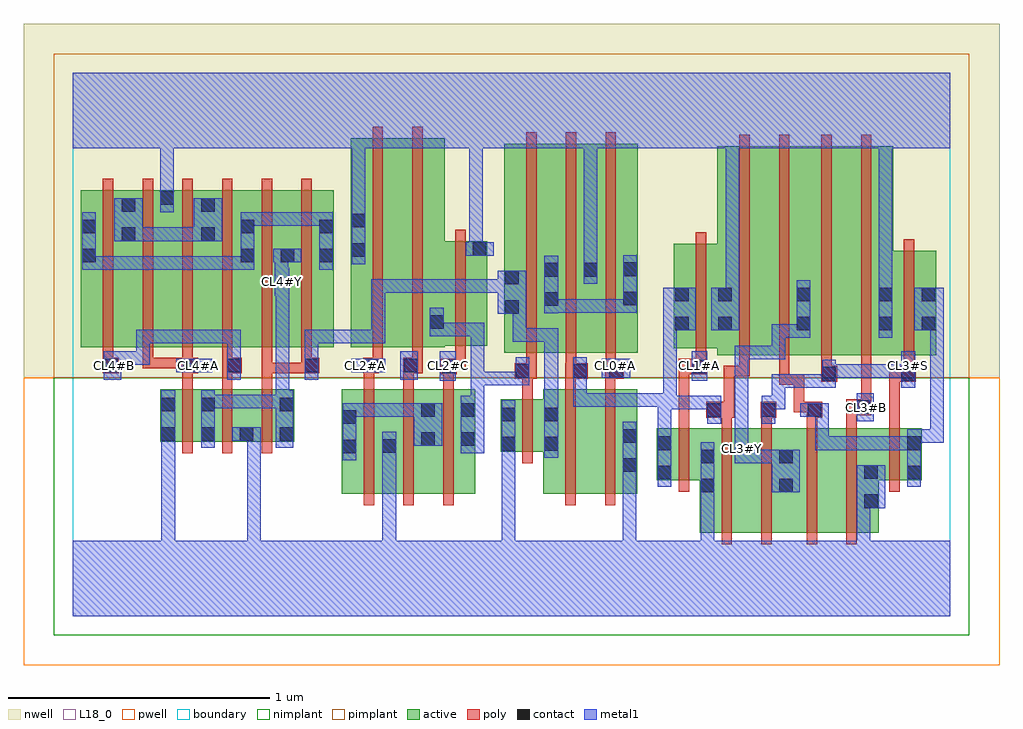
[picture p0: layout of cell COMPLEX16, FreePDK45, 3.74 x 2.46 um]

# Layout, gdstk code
import gdstk
lib = gdstk.Library(unit=1e-6, precision=1e-09)
def R(c, l, rs):  # rectangles x0, y0, x1, y1
    for r in rs: c.add(gdstk.rectangle(r[:2], r[2:], *l))
def A(c, l, x, y, w, h, nx, ny, dx, dy):  # array of equal rectangles
    R(c, l, [(x+i*dx, y+j*dy, x+i*dx+w, y+j*dy+h) for i in range(nx) for j in range(ny)])
active = (1, 0)
pwell = (2, 0)
nwell = (3, 0)
nimplant = (4, 0)
pimplant = (5, 0)
poly = (9, 0)
contact = (10, 0)
metal1 = (11, 0)
L18_0 = (18, 0)
boundary = (235, 0)

complex16 = lib.new_cell('COMPLEX16')
R(complex16, active, [(2.4,0.32,2.58,0.72), (2.4,0.32,2.46,0.72), (2.58,0.32,2.76,0.72), (2.7,0.32,2.906,0.72), (2.906,0.32,3.086,0.72), (3.026,0.32,3.086,0.582), (2.7,0.356,2.76,0.642), (1.03,0.468,1.09,0.868), (1.03,0.468,1.242,0.868), (1.182,0.468,1.242,0.868), (1.182,0.468,1.39,0.868), (1.33,0.468,1.39,0.868), (1.33,0.468,1.542,0.868), (1.482,0.468,1.542,0.868), (1.802,0.468,1.982,0.868), (1.982,0.468,2.162,0.868), (2.102,0.468,2.162,0.868), (2.236,0.52,2.296,0.72), (2.236,0.52,2.46,0.72), (3.026,0.52,3.25,0.72), (3.19,0.52,3.25,0.72), (1.638,0.63,1.698,0.83), (1.638,0.63,1.862,0.83), (1.802,0.63,1.862,0.83), (0.336,0.668,0.396,0.868), (0.336,0.668,0.548,0.868), (0.488,0.668,0.696,0.868), (0.488,0.668,0.548,0.84), (0.636,0.668,0.696,0.868), (0.636,0.668,0.848,0.868), (0.788,0.668,0.848,0.868), (2.468,0.998,2.648,1.798), (2.648,0.998,2.828,1.798), (2.768,0.998,2.962,1.798), (2.768,0.998,2.828,1.724), (2.962,0.998,3.142,1.798), (3.082,0.998,3.306,1.398), (3.082,0.998,3.142,1.356), (3.246,0.998,3.306,1.398), (1.652,1.008,1.712,1.724), (1.652,1.008,1.862,1.808), (1.802,1.008,2.012,1.808), (1.952,1.008,2.164,1.808), (2.104,1.008,2.164,1.724), (2.302,1.026,2.362,1.356), (2.302,1.026,2.528,1.426), (2.468,1.026,2.528,1.356), (0.032,1.03,0.092,1.556), (0.032,1.03,0.244,1.63), (0.184,1.03,0.392,1.63), (0.332,1.03,0.548,1.63), (0.488,1.03,0.7,1.63), (0.64,1.03,0.7,1.556), (0.64,1.03,0.852,1.63), (0.792,1.03,1,1.63), (0.792,1.03,0.852,1.62), (0.94,1.03,1,1.556), (1.064,1.03,1.244,1.83), (1.064,1.03,1.124,1.756), (1.244,1.03,1.424,1.83), (1.364,1.036,1.588,1.436), (1.364,1.036,1.424,1.62), (1.528,1.036,1.588,1.436), (1.802,1.184,1.862,1.724), (1.952,1.206,2.012,1.756), (0.184,1.406,0.244,1.604), (0.332,1.406,0.392,1.63), (0.488,1.406,0.548,1.63)])
R(complex16, pwell, [(-0.188,-0.188,3.548,0.912)])
R(complex16, nwell, [(-0.188,0.912,3.548,2.268)])
R(complex16, nimplant, [(-0.072,-0.072,3.432,0.912)])
R(complex16, pimplant, [(-0.072,0.912,3.432,2.152)])
A(complex16, poly, 1.114, 0.424, 0.04, 0.488, 3, 1, 0.152, 0)
A(complex16, poly, 0.42, 0.624, 0.04, 0.288, 3, 1, 0.152, 0)
A(complex16, poly, 0.42, 0.872, 0.04, 0.098, 3, 1, 0.152, 0)
A(complex16, poly, 1.736, 0.928, 0.04, 0.076, 3, 1, 0.152, 0)
A(complex16, poly, 0.116, 0.95, 0.04, 0.076, 4, 1, 0.152, 0)
A(complex16, poly, 1.736, 0.964, 0.04, 0.888, 3, 1, 0.152, 0)
A(complex16, poly, 0.116, 0.986, 0.04, 0.688, 6, 1, 0.152, 0)
R(complex16, poly, [(2.484,0.276,2.524,0.764), (2.636,0.276,2.676,0.764), (2.81,0.276,2.85,0.764), (2.962,0.276,3.002,0.764), (1.886,0.424,1.926,0.912), (2.038,0.424,2.078,0.912), (2.32,0.476,2.36,0.764), (3.126,0.476,3.166,0.764), (1.722,0.586,1.762,0.874), (2.32,0.724,2.36,0.966), (2.484,0.724,2.524,0.8), (2.636,0.724,2.676,0.8), (2.81,0.724,2.85,0.8), (2.962,0.724,3.002,0.81), (3.126,0.724,3.166,0.938), (2.426,0.76,2.532,0.82), (2.634,0.76,2.694,0.82), (2.81,0.76,2.87,0.82), (2.962,0.77,3.058,0.83), (2.492,0.78,2.532,0.958), (2.76,0.78,2.8,0.82), (2.76,0.78,2.85,0.82), (2.76,0.78,2.8,0.926), (3.018,0.79,3.058,0.83), (3.018,0.79,3.058,0.83), (3.018,0.79,3.058,0.994), (1.722,0.834,1.762,0.948), (1.114,0.872,1.154,0.97), (1.266,0.872,1.306,0.97), (1.418,0.872,1.458,0.966), (1.886,0.872,1.926,0.948), (2.038,0.872,2.078,0.948), (2.704,0.886,2.744,0.926), (2.704,0.886,2.8,0.926), (2.704,0.886,2.744,0.994), (2.76,0.886,2.8,0.926), (2.866,0.898,2.926,0.958), (3.126,0.898,3.208,0.938), (3.168,0.898,3.208,0.938), (3.168,0.898,3.228,0.958), (1.692,0.908,1.776,0.968), (1.722,0.908,1.762,0.948), (1.722,0.908,1.762,0.948), (1.886,0.908,1.972,0.968), (2.038,0.908,2.08,0.948), (2.04,0.908,2.08,0.948), (2.04,0.908,2.11,0.968), (2.492,0.918,2.592,0.958), (2.552,0.918,2.592,0.994), (2.866,0.918,2.906,0.994), (3.182,0.918,3.222,0.994), (1.41,0.926,1.47,0.986), (2.32,0.926,2.36,0.966), (2.32,0.926,2.36,0.966), (2.32,0.926,2.426,0.986), (1.888,0.928,1.928,0.968), (1.888,0.928,1.928,0.968), (0.116,0.93,0.176,0.99), (0.42,0.93,0.48,0.99), (0.572,0.93,0.612,0.97), (0.572,0.93,0.612,0.97), (0.572,0.93,0.648,0.99), (0.724,0.93,0.764,0.97), (0.724,0.93,0.764,0.97), (0.724,0.93,0.764,0.97), (0.724,0.93,0.764,0.97), (0.724,0.93,0.764,0.97), (0.724,0.93,0.916,0.97), (0.724,0.93,0.764,1.026), (0.876,0.93,0.944,0.99), (1.112,0.93,1.172,0.99), (1.266,0.93,1.306,0.97), (1.266,0.93,1.306,0.97), (1.266,0.93,1.34,0.99), (1.43,0.946,1.47,0.986), (1.43,0.946,1.504,0.986), (1.464,0.946,1.504,1.032), (2.386,0.946,2.426,1.022), (0.268,0.95,0.308,0.99), (0.268,0.95,0.308,0.99), (0.268,0.95,0.308,0.99), (0.268,0.95,0.46,0.99), (0.42,0.95,0.46,0.99), (0.42,0.95,0.46,0.99), (0.876,0.95,0.916,1.026), (1.132,0.95,1.172,0.99), (1.132,0.95,1.188,0.99), (1.148,0.95,1.188,1.026), (1.3,0.95,1.34,1.026), (2.552,0.954,2.592,1.842), (2.704,0.954,2.744,1.842), (2.866,0.954,2.906,1.842), (3.018,0.954,3.058,1.842), (3.182,0.954,3.222,1.442), (2.386,0.982,2.426,1.47), (1.148,0.986,1.188,1.874), (1.3,0.986,1.34,1.874), (1.464,0.992,1.504,1.48)])
R(complex16, contact, [(3.03,0.414,3.082,0.466), (2.404,0.474,2.456,0.526), (2.704,0.474,2.756,0.526), (2.24,0.524,2.292,0.576), (3.194,0.524,3.246,0.576), (3.03,0.526,3.082,0.578), (2.106,0.552,2.158,0.604), (2.404,0.586,2.456,0.638), (2.704,0.586,2.756,0.638), (1.034,0.624,1.086,0.676), (1.186,0.626,1.238,0.678), (1.642,0.634,1.694,0.686), (1.806,0.634,1.858,0.686), (2.24,0.636,2.292,0.688), (3.194,0.636,3.246,0.688), (1.334,0.652,1.386,0.704), (1.486,0.652,1.538,0.704), (2.106,0.664,2.158,0.716), (0.34,0.672,0.392,0.724), (0.492,0.672,0.544,0.724), (0.64,0.672,0.692,0.724), (0.792,0.672,0.844,0.724), (1.034,0.736,1.086,0.788), (1.642,0.746,1.694,0.798), (1.806,0.746,1.858,0.798), (1.334,0.764,1.386,0.816), (1.486,0.764,1.538,0.816), (2.43,0.764,2.482,0.816), (2.638,0.764,2.69,0.816), (2.814,0.764,2.866,0.816), (3.002,0.774,3.054,0.826), (0.34,0.784,0.392,0.836), (0.492,0.784,0.544,0.836), (0.792,0.784,0.844,0.836), (2.87,0.902,2.922,0.954), (3.172,0.902,3.224,0.954), (1.696,0.912,1.748,0.964), (1.916,0.912,1.968,0.964), (2.054,0.912,2.106,0.964), (1.414,0.93,1.466,0.982), (2.37,0.93,2.422,0.982), (0.12,0.934,0.172,0.986), (0.424,0.934,0.476,0.986), (0.592,0.934,0.644,0.986), (0.888,0.934,0.94,0.986), (1.116,0.934,1.168,0.986), (1.27,0.934,1.322,0.986), (2.306,1.094,2.358,1.146), (2.472,1.094,2.524,1.146), (2.772,1.094,2.824,1.146), (3.086,1.094,3.138,1.146), (3.25,1.094,3.302,1.146), (1.368,1.1,1.42,1.152), (1.656,1.158,1.708,1.21), (1.806,1.188,1.858,1.24), (2.108,1.19,2.16,1.242), (2.306,1.206,2.358,1.258), (2.472,1.206,2.524,1.258), (2.772,1.206,2.824,1.258), (3.086,1.206,3.138,1.258), (3.25,1.206,3.302,1.258), (1.656,1.27,1.708,1.322), (1.806,1.3,1.858,1.352), (1.956,1.3,2.008,1.352), (2.108,1.302,2.16,1.354), (0.036,1.354,0.088,1.406), (0.644,1.354,0.696,1.406), (0.796,1.354,0.848,1.406), (0.944,1.354,0.996,1.406), (1.068,1.376,1.12,1.428), (1.532,1.38,1.584,1.432), (0.188,1.436,0.24,1.488), (0.492,1.436,0.544,1.488), (0.036,1.466,0.088,1.518), (0.644,1.466,0.696,1.518), (0.944,1.466,0.996,1.518), (1.068,1.488,1.12,1.54), (0.188,1.548,0.24,1.6), (0.492,1.548,0.544,1.6), (0.336,1.574,0.388,1.626)])
R(complex16, metal1, [(0,0,3.36,0.288), (0.34,0.236,0.392,0.288), (0.34,0.236,0.392,0.288), (0.34,0.236,0.392,0.288), (0.34,0.236,0.392,0.288), (0.34,0.236,0.392,0.288), (0.34,0.236,0.392,0.288), (0.34,0.236,0.392,0.696), (0.668,0.236,0.72,0.288), (0.668,0.236,0.72,0.288), (0.668,0.236,0.72,0.288), (0.668,0.236,0.72,0.288), (0.668,0.236,0.72,0.288), (0.668,0.236,0.72,0.288), (0.668,0.236,0.72,0.724), (1.186,0.236,1.238,0.65), (1.642,0.236,1.694,0.658), (2.106,0.236,2.158,0.288), (2.106,0.236,2.158,0.288), (2.106,0.236,2.158,0.576), (2.404,0.236,2.456,0.498), (3.002,0.236,3.054,0.288), (3.002,0.236,3.054,0.288), (3.002,0.236,3.054,0.466), (3.002,0.414,3.11,0.578), (2.404,0.446,2.456,0.498), (2.404,0.446,2.456,0.498), (2.404,0.446,2.456,0.666), (2.676,0.474,2.784,0.638), (2.24,0.496,2.292,0.716), (3.194,0.496,3.246,0.716), (2.106,0.524,2.158,0.744), (2.534,0.586,2.586,0.638), (2.534,0.586,2.586,0.638), (2.534,0.586,2.586,0.694), (2.534,0.586,2.728,0.638), (2.676,0.586,2.728,0.638), (2.676,0.586,2.728,0.638), (1.034,0.596,1.086,0.816), (1.186,0.598,1.238,0.65), (1.186,0.598,1.238,0.65), (1.186,0.598,1.238,0.706), (1.642,0.606,1.694,0.658), (1.642,0.606,1.694,0.658), (1.642,0.606,1.694,0.658), (1.642,0.606,1.694,0.658), (1.642,0.606,1.694,0.658), (1.642,0.606,1.694,0.658), (1.642,0.606,1.694,0.826), (1.806,0.606,1.858,0.826), (1.486,0.624,1.576,0.844), (2.842,0.636,2.894,0.688), (2.842,0.636,3.114,0.688), (2.842,0.636,2.894,0.816), (3.062,0.636,3.114,0.688), (3.062,0.636,3.114,0.688), (3.062,0.636,3.114,0.688), (3.062,0.636,3.246,0.688), (3.194,0.636,3.246,0.688), (3.194,0.636,3.246,0.688), (2.534,0.642,2.586,1.036), (0.34,0.644,0.392,0.864), (0.492,0.644,0.544,0.864), (0.778,0.644,0.844,0.864), (1.306,0.652,1.414,0.816), (2.24,0.664,2.292,0.844), (3.194,0.664,3.246,0.716), (3.194,0.664,3.334,0.716), (3.282,0.664,3.334,1.146), (0.612,0.672,0.72,0.724), (2.43,0.736,2.482,0.844), (2.638,0.736,2.69,0.844), (3.002,0.746,3.066,0.854), (1.034,0.764,1.086,0.816), (1.034,0.764,1.086,0.816), (1.034,0.764,1.196,0.816), (1.144,0.764,1.196,0.816), (1.144,0.764,1.196,0.816), (1.144,0.764,1.196,0.816), (1.144,0.764,1.358,0.816), (2.786,0.764,2.894,0.816), (2.842,0.764,2.894,0.816), (2.842,0.764,2.894,0.816), (1.806,0.774,1.858,0.826), (1.806,0.774,1.858,0.826), (1.806,0.774,1.858,0.826), (1.806,0.774,1.858,0.826), (1.806,0.774,1.858,1.102), (1.524,0.792,1.576,0.844), (1.524,0.792,1.576,0.844), (1.524,0.792,1.576,0.936), (2.24,0.792,2.312,0.854), (2.26,0.792,2.312,0.844), (2.26,0.792,2.312,0.844), (2.26,0.792,2.422,0.844), (2.37,0.792,2.422,0.844), (2.37,0.792,2.482,0.844), (2.638,0.792,2.728,0.844), (2.676,0.792,2.728,0.844), (2.676,0.792,2.728,0.926), (0.492,0.796,0.654,0.848), (0.602,0.796,0.654,0.848), (0.602,0.796,0.654,0.848), (0.602,0.796,0.654,0.848), (0.602,0.796,0.83,0.848), (0.778,0.796,0.83,0.848), (0.778,0.796,0.83,0.848), (1.916,0.802,1.968,0.936), (1.916,0.802,2.158,0.854), (2.106,0.802,2.158,0.854), (2.106,0.802,2.158,0.854), (2.106,0.802,2.158,0.854), (2.106,0.802,2.292,0.854), (2.26,0.802,2.312,0.854), (2.26,0.802,2.312,0.854), (2.26,0.802,2.312,1.146), (0.778,0.812,0.83,1.278), (2.676,0.874,2.728,0.926), (2.676,0.874,2.922,0.926), (2.87,0.874,2.922,0.982), (3.172,0.874,3.226,1.014), (1.524,0.884,1.576,0.936), (1.524,0.884,1.748,0.936), (1.524,0.884,1.576,1.124), (1.696,0.884,1.748,0.936), (1.696,0.884,1.748,0.936), (1.696,0.884,1.748,0.992), (1.916,0.884,1.968,0.936), (1.916,0.884,1.968,0.992), (1.406,0.902,1.466,1.014), (2.37,0.902,2.43,1.014), (0.12,0.906,0.186,1.014), (0.592,0.906,0.644,1.096), (0.888,0.906,0.94,1.014), (1.254,0.906,1.322,1.014), (2.026,0.912,2.134,0.986), (2.87,0.912,2.922,0.964), (2.87,0.912,2.922,0.964), (2.87,0.912,3.114,0.964), (3.062,0.912,3.114,0.964), (3.062,0.912,3.114,0.964), (3.062,0.912,3.114,0.964), (3.062,0.912,3.224,0.964), (0.396,0.934,0.534,0.986), (1.066,0.934,1.196,0.986), (0.134,0.962,0.198,1.014), (0.146,0.962,0.198,1.014), (0.146,0.962,0.296,1.014), (0.244,0.962,0.296,1.096), (0.888,0.962,0.94,1.014), (0.888,0.962,0.94,1.096), (2.534,0.984,2.586,1.036), (2.534,0.984,2.586,1.036), (2.534,0.984,2.586,1.036), (2.534,0.984,2.728,1.036), (2.676,0.984,2.728,1.118), (0.244,1.044,0.406,1.096), (0.354,1.044,0.406,1.096), (0.354,1.044,0.406,1.096), (0.354,1.044,0.406,1.096), (0.354,1.044,0.516,1.096), (0.464,1.044,0.516,1.096), (0.464,1.044,0.644,1.096), (0.888,1.044,1.086,1.096), (1.034,1.044,1.086,1.096), (1.034,1.044,1.086,1.096), (1.034,1.044,1.086,1.096), (1.034,1.044,1.196,1.096), (1.144,1.044,1.196,1.096), (1.144,1.044,1.196,1.096), (1.144,1.044,1.196,1.096), (1.144,1.044,1.196,1.29), (1.684,1.05,1.736,1.102), (1.684,1.05,1.736,1.102), (1.684,1.05,1.736,1.102), (1.684,1.05,1.858,1.102), (1.684,1.05,1.736,1.21), (1.806,1.05,1.858,1.102), (2.676,1.066,2.824,1.118), (2.772,1.066,2.824,1.286), (3.086,1.066,3.138,1.286), (1.368,1.072,1.42,1.124), (1.368,1.072,1.42,1.124), (1.368,1.072,1.42,1.18), (1.368,1.072,1.576,1.124), (1.524,1.072,1.576,1.124), (2.26,1.094,2.386,1.258), (2.444,1.094,2.552,1.258), (3.222,1.094,3.334,1.258), (3.282,1.094,3.334,1.146), (3.282,1.094,3.334,1.146), (1.628,1.158,1.736,1.322), (1.806,1.16,1.858,1.38), (1.806,1.162,1.858,1.214), (1.806,1.162,1.858,1.214), (1.806,1.162,2.048,1.214), (1.996,1.162,2.048,1.214), (1.996,1.162,2.048,1.214), (1.996,1.162,2.048,1.214), (1.996,1.162,2.16,1.214), (2.108,1.162,2.16,1.214), (2.108,1.162,2.16,1.214), (2.108,1.162,2.16,1.382), (2.5,1.206,2.552,1.844), (0.774,1.226,0.83,1.334), (3.086,1.234,3.138,1.844), (1.144,1.238,1.196,1.29), (1.144,1.238,1.306,1.29), (1.254,1.238,1.306,1.29), (1.254,1.238,1.306,1.29), (1.254,1.238,1.306,1.29), (1.254,1.238,1.46,1.29), (1.408,1.238,1.46,1.29), (1.408,1.238,1.626,1.29), (1.574,1.238,1.626,1.29), (1.574,1.238,1.68,1.29), (1.956,1.272,2.008,1.38), (0.774,1.282,0.826,1.334), (0.774,1.282,0.826,1.334), (0.774,1.282,0.826,1.406), (0.036,1.326,0.088,1.378), (0.036,1.326,0.088,1.378), (0.036,1.326,0.088,1.546), (0.036,1.326,0.278,1.378), (0.226,1.326,0.278,1.378), (0.226,1.326,0.296,1.378), (0.244,1.326,0.296,1.378), (0.244,1.326,0.406,1.378), (0.354,1.326,0.406,1.378), (0.354,1.326,0.406,1.378), (0.354,1.326,0.406,1.378), (0.354,1.326,0.544,1.378), (0.492,1.326,0.544,1.378), (0.492,1.326,0.696,1.378), (0.644,1.326,0.696,1.378), (0.644,1.326,0.696,1.378), (0.644,1.326,0.696,1.546), (0.944,1.326,0.996,1.546), (1.956,1.328,2.008,1.844), (1.068,1.348,1.12,1.568), (0.768,1.354,0.876,1.406), (1.504,1.38,1.612,1.432), (1.518,1.38,1.57,1.432), (1.518,1.38,1.57,1.432), (1.518,1.38,1.57,1.844), (0.16,1.436,0.268,1.6), (0.216,1.436,0.296,1.488), (0.244,1.436,0.296,1.488), (0.244,1.436,0.388,1.488), (0.336,1.436,0.388,1.488), (0.336,1.436,0.516,1.488), (0.464,1.436,0.516,1.488), (0.464,1.436,0.516,1.488), (0.464,1.436,0.572,1.6), (0.644,1.494,0.696,1.546), (0.644,1.494,0.696,1.546), (0.644,1.494,0.806,1.546), (0.754,1.494,0.806,1.546), (0.754,1.494,0.806,1.546), (0.754,1.494,0.806,1.546), (0.754,1.494,0.976,1.546), (0.924,1.494,0.976,1.546), (0.924,1.494,0.996,1.546), (1.068,1.516,1.12,1.844), (0.336,1.546,0.388,1.654), (0.336,1.602,0.388,1.844), (0,1.792,3.36,2.08), (0.336,1.792,0.388,1.844), (0.336,1.792,0.388,1.844), (0.336,1.792,0.388,1.844), (0.336,1.792,0.388,1.844), (1.518,1.792,1.57,1.844), (1.518,1.792,1.57,1.844), (1.518,1.792,1.57,1.844), (1.518,1.792,1.57,1.844), (1.518,1.792,1.57,1.844), (1.518,1.792,1.57,1.844)])
A(complex16, L18_0, 1.094, 0.934, 0.052, 0.052, 3, 1, 0.16, 0)
R(complex16, L18_0, [(0,0,3.36,0.288), (0.34,0.236,0.392,0.288), (0.34,0.236,0.392,0.288), (0.34,0.236,0.392,0.288), (0.34,0.236,0.392,0.288), (0.34,0.236,0.392,0.288), (0.34,0.236,0.392,0.288), (0.34,0.236,0.392,0.696), (0.668,0.236,0.72,0.288), (0.668,0.236,0.72,0.288), (0.668,0.236,0.72,0.288), (0.668,0.236,0.72,0.288), (0.668,0.236,0.72,0.288), (0.668,0.236,0.72,0.288), (0.668,0.236,0.72,0.724), (1.186,0.236,1.238,0.65), (1.642,0.236,1.694,0.658), (2.106,0.236,2.158,0.288), (2.106,0.236,2.158,0.288), (2.106,0.236,2.158,0.576), (2.404,0.236,2.456,0.498), (3.002,0.236,3.054,0.288), (3.002,0.236,3.054,0.288), (3.002,0.236,3.054,0.466), (3.002,0.414,3.11,0.578), (2.404,0.446,2.456,0.498), (2.404,0.446,2.456,0.498), (2.404,0.446,2.456,0.666), (2.676,0.474,2.784,0.638), (2.106,0.524,2.158,0.744), (2.534,0.586,2.586,0.638), (2.534,0.586,2.586,0.638), (2.534,0.586,2.586,0.694), (2.534,0.586,2.728,0.638), (2.676,0.586,2.728,0.638), (2.676,0.586,2.728,0.638), (1.186,0.598,1.238,0.65), (1.186,0.598,1.238,0.65), (1.186,0.598,1.238,0.706), (1.642,0.606,1.694,0.658), (1.642,0.606,1.694,0.658), (1.642,0.606,1.694,0.658), (1.642,0.606,1.694,0.658), (1.642,0.606,1.694,0.658), (1.642,0.606,1.694,0.658), (1.642,0.606,1.694,0.826), (2.534,0.614,2.586,0.666), (2.534,0.642,2.586,1.036), (0.34,0.644,0.392,0.864), (0.492,0.644,0.544,0.864), (0.778,0.644,0.844,0.864), (0.612,0.672,0.72,0.724), (2.638,0.736,2.69,0.844), (3.002,0.746,3.066,0.854), (3.014,0.774,3.066,0.826), (2.638,0.792,2.728,0.844), (2.676,0.792,2.728,0.844), (2.676,0.792,2.728,0.926), (0.492,0.796,0.654,0.848), (0.602,0.796,0.654,0.848), (0.602,0.796,0.654,0.848), (0.602,0.796,0.654,0.848), (0.602,0.796,0.83,0.848), (0.778,0.796,0.83,0.848), (0.778,0.796,0.83,0.848), (0.778,0.812,0.83,1.278), (2.676,0.874,2.728,0.926), (2.676,0.874,2.922,0.926), (2.87,0.874,2.922,0.982), (3.172,0.874,3.226,1.014), (1.406,0.902,1.466,1.014), (2.37,0.902,2.43,1.014), (0.12,0.906,0.186,1.014), (0.592,0.906,0.644,1.096), (1.254,0.906,1.322,1.014), (2.026,0.912,2.134,0.986), (2.87,0.912,2.922,0.964), (2.87,0.912,2.922,0.964), (2.87,0.912,3.114,0.964), (3.062,0.912,3.114,0.964), (3.062,0.912,3.114,0.964), (3.062,0.912,3.114,0.964), (3.062,0.912,3.224,0.964), (0.134,0.934,0.186,0.986), (0.396,0.934,0.534,0.986), (0.454,0.934,0.506,0.986), (1.066,0.934,1.196,0.986), (2.054,0.934,2.106,0.986), (2.374,0.934,2.426,0.986), (3.174,0.934,3.226,0.986), (0.134,0.962,0.198,1.014), (0.146,0.962,0.198,1.014), (0.146,0.962,0.296,1.014), (0.244,0.962,0.296,1.096), (2.534,0.984,2.586,1.036), (2.534,0.984,2.586,1.036), (2.534,0.984,2.586,1.036), (2.534,0.984,2.728,1.036), (2.676,0.984,2.728,1.118), (0.244,1.044,0.406,1.096), (0.354,1.044,0.406,1.096), (0.354,1.044,0.406,1.096), (0.354,1.044,0.406,1.096), (0.354,1.044,0.516,1.096), (0.464,1.044,0.516,1.096), (0.464,1.044,0.644,1.096), (2.676,1.066,2.824,1.118), (2.772,1.066,2.824,1.286), (3.086,1.066,3.138,1.286), (2.444,1.094,2.552,1.258), (2.5,1.206,2.552,1.844), (0.774,1.226,0.83,1.334), (3.086,1.234,3.138,1.844), (0.774,1.254,0.826,1.306), (1.956,1.272,2.008,1.38), (0.774,1.282,0.826,1.334), (0.774,1.282,0.826,1.334), (0.774,1.282,0.826,1.406), (1.956,1.328,2.008,1.844), (1.068,1.348,1.12,1.568), (0.768,1.354,0.876,1.406), (1.504,1.38,1.612,1.432), (1.518,1.38,1.57,1.432), (1.518,1.38,1.57,1.432), (1.518,1.38,1.57,1.844), (1.068,1.516,1.12,1.844), (0.336,1.546,0.388,1.654), (0.336,1.602,0.388,1.844), (0,1.792,3.36,2.08), (0.336,1.792,0.388,1.844), (0.336,1.792,0.388,1.844), (0.336,1.792,0.388,1.844), (0.336,1.792,0.388,1.844), (1.518,1.792,1.57,1.844), (1.518,1.792,1.57,1.844), (1.518,1.792,1.57,1.844), (1.518,1.792,1.57,1.844), (1.518,1.792,1.57,1.844), (1.518,1.792,1.57,1.844)])
R(complex16, boundary, [(0,0,3.36,2.08)])
complex16.add(gdstk.Label('CL0#A', (2.08,0.96), layer=11, texttype=0))
complex16.add(gdstk.Label('CL1#A', (2.4,0.96), layer=11, texttype=0))
complex16.add(gdstk.Label('CL2#A', (1.12,0.96), layer=11, texttype=0))
complex16.add(gdstk.Label('CL2#B', (1.28,0.96), layer=11, texttype=0))
complex16.add(gdstk.Label('CL2#C', (1.44,0.96), layer=11, texttype=0))
complex16.add(gdstk.Label('CL3#B', (3.04,0.8), layer=11, texttype=0))
complex16.add(gdstk.Label('CL3#S', (3.2,0.96), layer=11, texttype=0))
complex16.add(gdstk.Label('CL3#Y', (2.56,0.64), layer=11, texttype=0))
complex16.add(gdstk.Label('CL4#A', (0.48,0.96), layer=11, texttype=0))
complex16.add(gdstk.Label('CL4#B', (0.16,0.96), layer=11, texttype=0))
complex16.add(gdstk.Label('CL4#Y', (0.8,1.28), layer=11, texttype=0))

lib.write_gds('COMPLEX16.gds')
